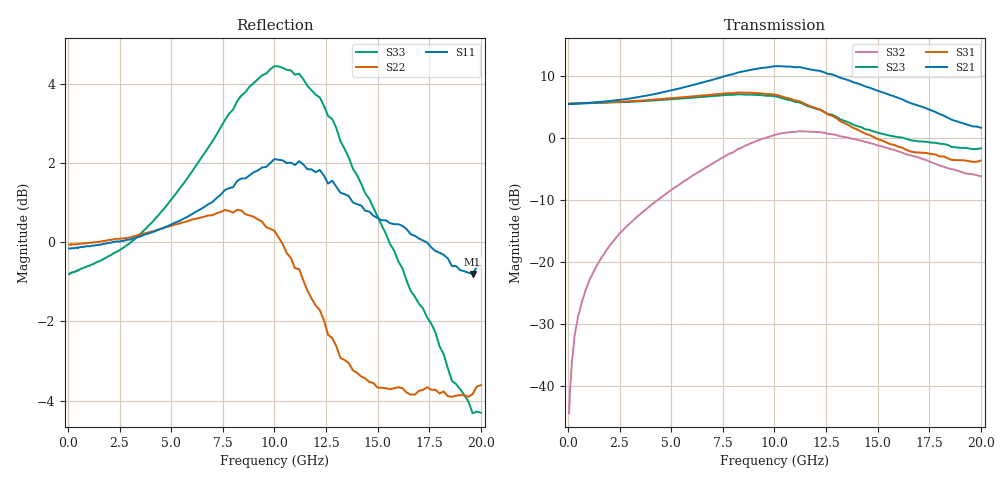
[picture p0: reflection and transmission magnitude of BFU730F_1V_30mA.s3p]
! Filename:  P:\Prog\Test\Noise\ATS_data\Testdata_Net\Split files Spar\BFU730_2W_B1_1V_1mA_30mA_Bias10_D.s2p
! Date/Time: Fri 29/Apr/2011 14:16:29
! BFU730_2W_B1_1V_1mA_30mA_Bias10_R.s2p
! MDIF S-parameter v. bias file
! BFU730_2W_B1_1V_1mA_30mA
! Date/time Thu Mar 17 14:34:31 2011
! VAR V_out= 1.0000
! VAR I_out= 30.0000
! VAR V_in= 0.8383
! VAR I_in= 0.1101
! Device data file deembeded for feedlines and parallel
! Original file: \Split files Spar\BFU730_2W_B1_1V_1mA_30mA_Bias10_R.s2p
! Feed-files: PR003V01_101208_Feed1.s2p, PR003V01_101208_Feed2.s2p
! Parallel-file: PR003V01_101208_Par.s2p
!3-port S-parameters
# GHz S MA R 50
!  Freq-GHz  S11-mag  S11-arg  S12-mag  S12-arg  S13-mag  S13-arg  S21-mag  S21-arg  S22-mag  S22-arg  S23-mag  S23-arg  S31-mag  S31-arg  S32-mag  S32-arg  S33-mag  S33-arg
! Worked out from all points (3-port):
!   165 points, 60 MHz to 20 GHz, reference 50 ohm
!   strongest paths, dB at 60 MHz, 1.35 GHz, 4.3 GHz, 11.8 GHz, 20 GHz:
!     S21: 5.5, 5.8, 7.2, 11.1, 1.7
!     S31: 5.6, 5.7, 6.3, 5.1, -3.6
!     S23: 5.6, 5.7, 6.1, 5.0, -1.6
!     S32: -44.4, -20.9, -10.1, 1.0, -6.2
!   lowest |S11| = -0.8 dB at 19.6 GHz (marker M1), VSWR 21.73, Z = 19.2 + j134 ohm
!   |S11| at or under -10 dB: nowhere
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0.06  0.982 -0.6  0.004 65.3  0.018 23.4
      1.888 179.3  0.993 -0.4  1.895 -0.5
      1.906 -0.4  0.006 36.2  0.911 179.5
0.38  0.984 -4.0  0.025 86.0  0.048 69.0
      1.898 175.4  0.994 -3.0  1.902 -3.0
      1.913 -2.5  0.029 78.7  0.918 176.5
1.05  0.988 -10.6  0.067 85.1  0.118 78.9
      1.931 167.9  0.998 -7.9  1.918 -8.0
      1.929 -6.6  0.072 85.6  0.934 170.8
6  1.085 -67.4  0.42 58.7  0.74 60.4
   2.676 112.3  1.068 -51.7  2.125 -50.5
   2.174 -42.7  0.494 76.0  1.227 125.8
8.4  1.204 -112.8  0.658 35.6  1.182 38.0
     3.443 76.7  1.097 -88.7  2.262 -85.4
     2.341 -73.2  0.838 58.4  1.532 94.3
10.2  1.271 -159.0  0.792 10.1  1.442 12.7
      3.819 42.5  1.015 -130.3  2.146 -122.7
      2.215 -106.5  1.082 35.9  1.668 63.3
12.2  1.234 147.5  0.752 -19.1  1.394 -17.4
      3.502 3.7  0.821 175.3  1.702 -170.0
      1.706 -148.4  1.121 9.2  1.524 27.9
14.2  1.113 104.8  0.587 -39.8  1.088 -40.1
      2.706 -27.3  0.677 124.8  1.228 146.0
      1.133 171.6  0.953 -10.9  1.186 0.7
19.6  0.912 40.1  0.302 -55.1  0.364 -69.1
      1.247 -79.9  0.643 52.8  0.816 61.3
      0.645 82.6  0.512 -31.1  0.608 -38.1
20  0.934 36.6  0.284 -56.3  0.334 -74.0
    1.215 -83.6  0.66 49.5  0.829 58.3
    0.66 80.1  0.492 -32.7  0.609 -39.1
